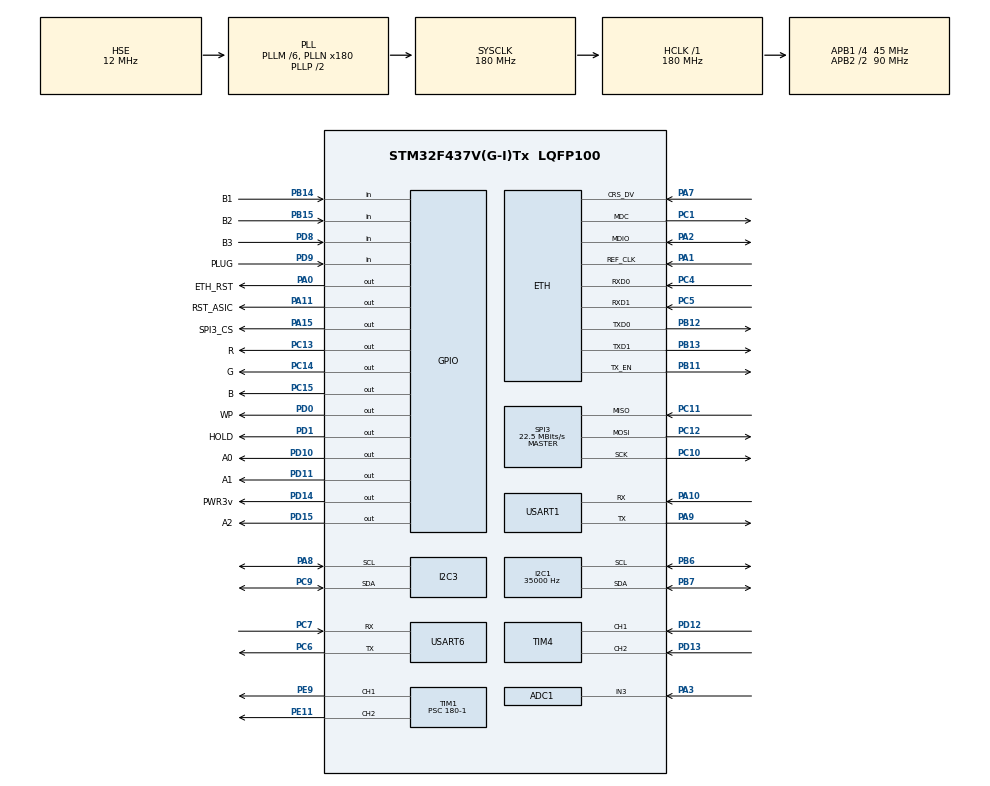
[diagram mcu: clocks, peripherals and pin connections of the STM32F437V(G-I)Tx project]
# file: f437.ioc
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ADC1.Channel-0\#ChannelRegularConversion=ADC_CHANNEL_3
ADC1.NbrOfConversionFlag=1
ADC1.Rank-0\#ChannelRegularConversion=1
ADC1.SamplingTime-0\#ChannelRegularConversion=ADC_SAMPLETIME_3CYCLES
ADC1.master=1
ETH.MediaInterface=ETH_MEDIA_INTERFACE_RMII
ETH.PhyAddress=0
FREERTOS.BinarySemaphores01=InDataTCP,Dynamic,NULL;ModBusEnd,Dynamic,NULL
FREERTOS.Tasks01=testTask,0,256,TestTask,Default,NULL,Dynamic,NULL,NULL;lcdTask,0,512,LcdTask,Default,NULL,Dynamic,NULL,NULL;I2C_Task,0,256,i2c_Task,Default,NULL,Dynamic,NULL,NULL;buttonTask,0,128,ButtonTask,Default,NULL,Dynamic,NULL,NULL;tcpTask,0,1024,TcpTask,Default,NULL,Dynamic,NULL,NULL
FREERTOS.configTOTAL_HEAP_SIZE=40000
I2C1.ClockSpeed=35000
I2C1.I2C_Mode=I2C_Fast
I2C3.I2C_Mode=I2C_Fast
LWIP.LWIP_DNS=1
LWIP.MEM_SIZE=2048
LWIP.Version=v2.1.2_Cube
Mcu.Family=STM32F4
Mcu.Name=STM32F437V(G-I)Tx
Mcu.Package=LQFP100
NVIC.ETH_IRQn=true\:5\:0\:false\:false\:true\:true\:false\:true\:true
NVIC.I2C3_ER_IRQn=true\:5\:0\:false\:false\:true\:true\:true\:true\:true
NVIC.I2C3_EV_IRQn=true\:5\:0\:false\:false\:true\:true\:true\:true\:true
NVIC.PriorityGroup=NVIC_PRIORITYGROUP_4
NVIC.TIM7_IRQn=true\:0\:0\:false\:false\:true\:false\:false\:true\:true
NVIC.TimeBase=TIM7_IRQn
NVIC.TimeBaseIP=TIM7
NVIC.USART1_IRQn=true\:5\:0\:false\:false\:true\:true\:true\:true\:true
NVIC.USART6_IRQn=true\:5\:0\:false\:false\:true\:true\:true\:true\:true
PA0/WKUP.GPIO_Label=ETH_RST
PA0/WKUP.Signal=GPIO_Output
PA1.Mode=RMII
PA1.Signal=ETH_REF_CLK
PA10.Mode=Asynchronous
PA10.Signal=USART1_RX
PA11.GPIO_Label=RST_ASIC
PA11.Signal=GPIO_Output
PA13.Mode=Serial_Wire
PA13.Signal=SYS_JTMS-SWDIO
PA14.Mode=Serial_Wire
PA14.Signal=SYS_JTCK-SWCLK
PA15.GPIO_Label=SPI3_CS
PA15.Signal=GPIO_Output
PA2.Mode=RMII
PA2.Signal=ETH_MDIO
PA3.Signal=ADCx_IN3
PA7.Mode=RMII
PA7.Signal=ETH_CRS_DV
PA8.Mode=I2C
PA8.Signal=I2C3_SCL
PA9.Mode=Asynchronous
PA9.Signal=USART1_TX
PB11.Mode=RMII
PB11.Signal=ETH_TX_EN
PB12.Mode=RMII
PB12.Signal=ETH_TXD0
PB13.Mode=RMII
PB13.Signal=ETH_TXD1
PB14.GPIO_Label=B1
PB14.GPIO_PuPd=GPIO_PULLUP
PB14.Signal=GPIO_Input
PB15.GPIO_Label=B2
PB15.GPIO_PuPd=GPIO_PULLUP
PB15.Signal=GPIO_Input
PB6.Mode=I2C
PB6.Signal=I2C1_SCL
PB7.Mode=I2C
PB7.Signal=I2C1_SDA
PC1.Mode=RMII
PC1.Signal=ETH_MDC
PC10.Mode=Full_Duplex_Master
PC10.Signal=SPI3_SCK
PC11.Mode=Full_Duplex_Master
PC11.Signal=SPI3_MISO
PC12.Mode=Full_Duplex_Master
PC12.Signal=SPI3_MOSI
PC13.GPIO_Label=R
PC13.PinState=GPIO_PIN_SET
PC13.Signal=GPIO_Output
PC14/OSC32_IN.GPIO_Label=G
PC14/OSC32_IN.PinState=GPIO_PIN_SET
PC14/OSC32_IN.Signal=GPIO_Output
PC15/OSC32_OUT.GPIO_Label=B
PC15/OSC32_OUT.PinState=GPIO_PIN_SET
PC15/OSC32_OUT.Signal=GPIO_Output
PC4.Mode=RMII
PC4.Signal=ETH_RXD0
PC5.Mode=RMII
PC5.Signal=ETH_RXD1
PC6.Mode=Asynchronous
PC6.Signal=USART6_TX
PC7.Mode=Asynchronous
PC7.Signal=USART6_RX
PC9.Mode=I2C
PC9.Signal=I2C3_SDA
PD0.GPIO_Label=WP
PD0.Signal=GPIO_Output
PD1.GPIO_Label=HOLD
PD1.Signal=GPIO_Output
PD10.GPIO_Label=A0
PD10.Signal=GPIO_Output
PD11.GPIO_Label=A1
PD11.Signal=GPIO_Output
PD12.Signal=S_TIM4_CH1
PD13.Signal=S_TIM4_CH2
PD14.GPIO_Label=PWR3v
PD14.Signal=GPIO_Output
PD15.GPIO_Label=A2
PD15.Signal=GPIO_Output
PD8.GPIO_Label=B3
PD8.GPIO_PuPd=GPIO_PULLUP
PD8.Signal=GPIO_Input
PD9.GPIO_Label=PLUG
PD9.Signal=GPIO_Input
PE11.Signal=S_TIM1_CH2
PE9.Signal=S_TIM1_CH1
PH0/OSC_IN.Mode=HSE-External-Oscillator
PH0/OSC_IN.Signal=RCC_OSC_IN
PH1/OSC_OUT.Mode=HSE-External-Oscillator
PH1/OSC_OUT.Signal=RCC_OSC_OUT
ProjectManager.HeapSize=0x2000
ProjectManager.StackSize=0x4000
ProjectManager.TargetToolchain=STM32CubeIDE
RCC.48MHZClocksFreq_Value=90000000
RCC.AHBFreq_Value=180000000
RCC.APB1CLKDivider=RCC_HCLK_DIV4
RCC.APB1Freq_Value=45000000
RCC.APB1TimFreq_Value=90000000
RCC.APB2CLKDivider=RCC_HCLK_DIV2
RCC.APB2Freq_Value=90000000
RCC.APB2TimFreq_Value=180000000
RCC.CortexFreq_Value=180000000
RCC.HCLKFreq_Value=180000000
RCC.HSE_VALUE=12000000
RCC.HSI_VALUE=16000000
RCC.LSE_VALUE=32768
RCC.PLLM=6
RCC.PLLN=180
RCC.PLLSourceVirtual=RCC_PLLSOURCE_HSE
RCC.SYSCLKFreq_VALUE=180000000
RCC.SYSCLKSource=RCC_SYSCLKSOURCE_PLLCLK
RCC.VCOOutputFreq_Value=360000000
SH.ADCx_IN3.0=ADC1_IN3,IN3
SH.S_TIM1_CH1.0=TIM1_CH1,PWM Generation1 CH1
SH.S_TIM1_CH2.0=TIM1_CH2,PWM Generation2 CH2
SH.S_TIM4_CH1.0=TIM4_CH1,Encoder_Interface
SH.S_TIM4_CH2.0=TIM4_CH2,Encoder_Interface
SPI3.CalculateBaudRate=22.5 MBits/s
SPI3.Direction=SPI_DIRECTION_2LINES
SPI3.Mode=SPI_MODE_MASTER
SPI3.VirtualType=VM_MASTER
TIM1.Channel-PWM\ Generation1\ CH1=TIM_CHANNEL_1
TIM1.Channel-PWM\ Generation2\ CH2=TIM_CHANNEL_2
TIM1.Period=40
TIM1.Prescaler=180-1
USART1.VirtualMode=VM_ASYNC
USART6.VirtualMode=VM_ASYNC
VP_FREERTOS_VS_CMSIS_V1.Mode=CMSIS_V1
VP_LWIP_VS_Enabled.Mode=Enabled
VP_SYS_VS_tim7.Mode=TIM7
VP_TIM1_VS_ClockSourceINT.Mode=Internal
board=custom

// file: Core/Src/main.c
/* USER CODE BEGIN Header */
/**
  ******************************************************************************
  * @file           : main.c
  * @brief          : Main program body
  ******************************************************************************
  * @attention
  *
  * <h2><center>&copy; Copyright (c) 2021 STMicroelectronics.
  * All rights reserved.</center></h2>
  *
  * This software component is licensed by ST under BSD 3-Clause license,
  * the "License"; You may not use this file except in compliance with the
  * License. You may obtain a copy of the License at:
  *                        opensource.org/licenses/BSD-3-Clause
  *
  ******************************************************************************
  */
/* USER CODE END Header */
#include "main.h"
#include "cmsis_os.h"
#include "adc.h"
#include "i2c.h"
#include "lwip.h"
#include "spi.h"
#include "tim.h"
#include "usart.h"
#include "gpio.h"

/* USER CODE BEGIN PV */
//extern osSemaphoreId endASICHandle;
//переменные для таймеров
uint32_t uartTIM = 0;
uint8_t status_uartTIM = 0;
uint32_t counterRefresh = 0;

/* USER CODE END PV */

void SystemClock_Config(void);
void MX_FREERTOS_Init(void);

int main(void)
{

  /* MCU Configuration--------------------------------------------------------*/

  /* Reset of all peripherals, Initializes the Flash interface and the Systick. */
  HAL_Init();

  /* Configure the system clock */
  SystemClock_Config();

  /* Initialize all configured peripherals */
  MX_GPIO_Init();
  MX_ADC1_Init();
  MX_I2C1_Init();
  MX_I2C3_Init();
  MX_SPI3_Init();
  MX_TIM1_Init();
  MX_TIM4_Init();
  MX_USART1_UART_Init();
  MX_USART6_UART_Init();
  /* USER CODE BEGIN 2 */
  HAL_GPIO_WritePin(eth_nrst_GPIO_Port, eth_nrst_Pin, GPIO_PIN_SET);
  /* USER CODE END 2 */

  /* Call init function for freertos objects (in freertos.c) */
  MX_FREERTOS_Init();

  /* Start scheduler */
  osKernelStart();

  /* We should never get here as control is now taken by the scheduler */
  /* Infinite loop */
  while (1)
  {

  }
}

void SystemClock_Config(void)
{
  RCC_OscInitTypeDef RCC_OscInitStruct = {0};
  RCC_ClkInitTypeDef RCC_ClkInitStruct = {0};

  /** Configure the main internal regulator output voltage
  */
  __HAL_RCC_PWR_CLK_ENABLE();
  __HAL_PWR_VOLTAGESCALING_CONFIG(PWR_REGULATOR_VOLTAGE_SCALE1);

  /** Initializes the RCC Oscillators according to the specified parameters
  * in the RCC_OscInitTypeDef structure.
  */
  RCC_OscInitStruct.OscillatorType = RCC_OSCILLATORTYPE_HSE;
  RCC_OscInitStruct.HSEState = RCC_HSE_ON;
  RCC_OscInitStruct.PLL.PLLState = RCC_PLL_ON;
  RCC_OscInitStruct.PLL.PLLSource = RCC_PLLSOURCE_HSE;
  RCC_OscInitStruct.PLL.PLLM = 6;
  RCC_OscInitStruct.PLL.PLLN = 180;
  RCC_OscInitStruct.PLL.PLLP = RCC_PLLP_DIV2;
  RCC_OscInitStruct.PLL.PLLQ = 4;
  if (HAL_RCC_OscConfig(&RCC_OscInitStruct) != HAL_OK)
  {
    Error_Handler();
  }

  /** Activate the Over-Drive mode
  */
  if (HAL_PWREx_EnableOverDrive() != HAL_OK)
  {
    Error_Handler();
  }

  /** Initializes the CPU, AHB and APB buses clocks
  */
  RCC_ClkInitStruct.ClockType = RCC_CLOCKTYPE_HCLK|RCC_CLOCKTYPE_SYSCLK
                              |RCC_CLOCKTYPE_PCLK1|RCC_CLOCKTYPE_PCLK2;
  RCC_ClkInitStruct.SYSCLKSource = RCC_SYSCLKSOURCE_PLLCLK;
  RCC_ClkInitStruct.AHBCLKDivider = RCC_SYSCLK_DIV1;
  RCC_ClkInitStruct.APB1CLKDivider = RCC_HCLK_DIV4;
  RCC_ClkInitStruct.APB2CLKDivider = RCC_HCLK_DIV2;

  if (HAL_RCC_ClockConfig(&RCC_ClkInitStruct, FLASH_LATENCY_5) != HAL_OK)
  {
    Error_Handler();
  }
}

void HAL_TIM_PeriodElapsedCallback(TIM_HandleTypeDef *htim)
{
  /* USER CODE BEGIN Callback 0 */
	  if (htim->Instance == TIM7) {
	    if (status_uartTIM) {
	    	uartTIM++;
		}
	    counterRefresh ++;

	  }

  /* USER CODE END Callback 0 */
  if (htim->Instance == TIM7) {
    HAL_IncTick();
  }
}

void Error_Handler(void)
{
  __disable_irq();
  while (1)
  {
  }
}

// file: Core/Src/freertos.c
/* USER CODE BEGIN Header */
/**
 ******************************************************************************
 * File Name          : freertos.c
 * Description        : Code for freertos applications
 ******************************************************************************
 * @attention
 *
 * <h2><center>&copy; Copyright (c) 2021 STMicroelectronics.
 * All rights reserved.</center></h2>
 *
 * This software component is licensed by ST under Ultimate Liberty license
 * SLA0044, the "License"; You may not use this file except in compliance with
 * the License. You may obtain a copy of the License at:
 *                             www.st.com/SLA0044
 *
 ******************************************************************************
 */
/* USER CODE END Header */

#include "FreeRTOS.h"
#include "task.h"
#include "main.h"
#include "cmsis_os.h"

/* USER CODE BEGIN Includes */
#include "stdio.h"
#include "string.h"
#include "ssd1306.h"
//#include "ssd1306_tests.h"
#include <stdlib.h>
#include "RV_BUTTON.h"
#include "lwip.h"
/* USER CODE END Includes */

/* USER CODE BEGIN Variables */
extern I2C_HandleTypeDef hi2c1;
extern I2C_HandleTypeDef hi2c3;
extern UART_HandleTypeDef huart1;
extern UART_HandleTypeDef huart6;
extern TIM_HandleTypeDef htim14;
extern TIM_HandleTypeDef htim4;

HAL_StatusTypeDef status_i2c;
HAL_StatusTypeDef status_uart;

//для чипов
uint32_t pre_count_ASIC = 0;
uint32_t counter_bytes = 0;
uint8_t readASIC[540] = { 0x00 };

//обшие переменные
uint8_t start = 0; // запуск процедуры проверки
uint8_t ready = 0; // готовнеость питаня
GPIO_PinState plug = GPIO_PIN_RESET; //присутствие платы

//переменные для таймеров
extern uint32_t uartTIM ;
extern uint8_t status_uartTIM;
extern uint32_t counterRefresh;

/* USER CODE END Variables */
osThreadId testTaskHandle;
osThreadId lcdTaskHandle;
osThreadId I2C_TaskHandle;
osThreadId buttonTaskHandle;

/* USER CODE BEGIN FunctionPrototypes */

// extern "C"
/* USER CODE END FunctionPrototypes */

void TestTask(void const * argument);
void LcdTask(void const * argument);
void i2c_Task(void const * argument);
void ButtonTask(void const * argument);

extern void MX_LWIP_Init(void);
void MX_FREERTOS_Init(void); /* (MISRA C 2004 rule 8.1) */

/* GetIdleTaskMemory prototype (linked to static allocation support) */
extern "C" void vApplicationGetIdleTaskMemory( StaticTask_t **ppxIdleTaskTCBBuffer, StackType_t **ppxIdleTaskStackBuffer, uint32_t *pulIdleTaskStackSize );

/* USER CODE BEGIN GET_IDLE_TASK_MEMORY */
static StaticTask_t xIdleTaskTCBBuffer;
static StackType_t xIdleStack[configMINIMAL_STACK_SIZE];

void vApplicationGetIdleTaskMemory( StaticTask_t **ppxIdleTaskTCBBuffer, StackType_t **ppxIdleTaskStackBuffer, uint32_t *pulIdleTaskStackSize )
{
  *ppxIdleTaskTCBBuffer = &xIdleTaskTCBBuffer;
  *ppxIdleTaskStackBuffer = &xIdleStack[0];
  *pulIdleTaskStackSize = configMINIMAL_STACK_SIZE;
  /* place for user code */
}
/* USER CODE END GET_IDLE_TASK_MEMORY */

void MX_FREERTOS_Init(void) {

  /* Create the thread(s) */
  /* definition and creation of testTask */
  osThreadDef(testTask, TestTask, osPriorityNormal, 0, 256);
  testTaskHandle = osThreadCreate(osThread(testTask), NULL);

  /* definition and creation of lcdTask */
  osThreadDef(lcdTask, LcdTask, osPriorityNormal, 0, 512);
  lcdTaskHandle = osThreadCreate(osThread(lcdTask), NULL);

  /* definition and creation of I2C_Task */
  osThreadDef(I2C_Task, i2c_Task, osPriorityNormal, 0, 256);
  I2C_TaskHandle = osThreadCreate(osThread(I2C_Task), NULL);

  /* definition and creation of buttonTask */
  osThreadDef(buttonTask, ButtonTask, osPriorityNormal, 0, 128);
  buttonTaskHandle = osThreadCreate(osThread(buttonTask), NULL);

}

void TestTask(void const * argument)
{
  /* init code for LWIP */
  MX_LWIP_Init();
  for(;;)
  {
    osDelay(1);
  }
}

void LcdTask(void const * argument)
{
  for(;;)
  {
    osDelay(1);
  }
}

void i2c_Task(void const * argument)
{
  for(;;)
  {
    osDelay(1);
  }
}

void ButtonTask(void const * argument)
{
  for(;;)
  {
    osDelay(1);
  }
}

/* USER CODE BEGIN Application */
void HAL_UART_RxCpltCallback(UART_HandleTypeDef *huart) {

	status_uart = HAL_UART_Receive_IT(&huart6, &readASIC[counter_bytes], 1);
	counter_bytes++;
	uartTIM = 0; //сбрасываем таймер до тех пор пока не придут все данные
}

/* USER CODE END Application */
